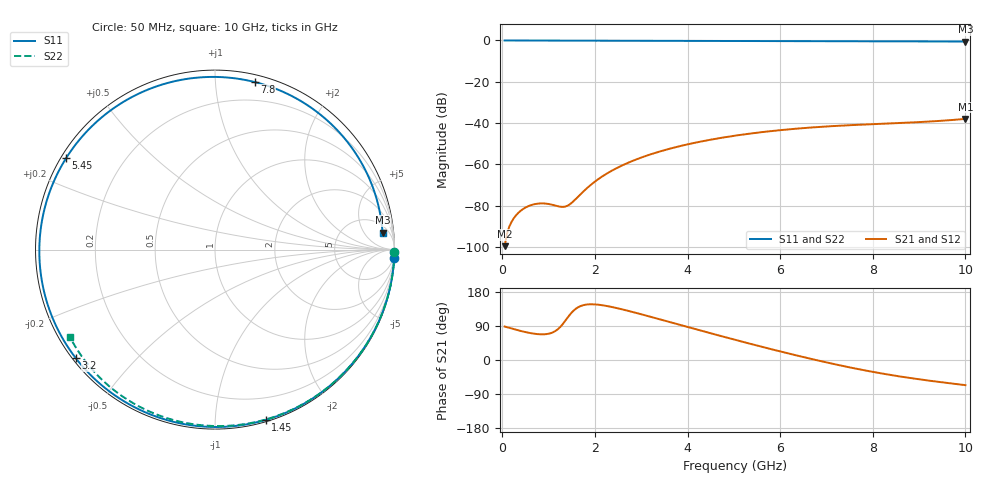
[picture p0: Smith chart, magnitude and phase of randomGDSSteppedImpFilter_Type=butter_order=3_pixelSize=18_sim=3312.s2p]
! freq	dB(S11)	phase(S11)	dB(S12)	phase(S12)
!  dB(S21)	phase(S21)	dB(S22)	phase(S22)
!S-par simulation data
#  GHz  S  DB  R 50
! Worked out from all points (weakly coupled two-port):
!   200 points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, 50 MHz to 10 GHz, reference 50 ohm
!   highest |S21| = -38.00 dB at 10 GHz (marker M1); lowest = -99.7 dB at 50 MHz (marker M2)
!   lowest |S11| = -0.6 dB at 10 GHz (marker M3), VSWR 31.40, Z = 444 + j706 ohm
!   |S11| at or under -10 dB: nowhere
!   |S22| runs from -0.5 to 0.0 dB; largest |S21 - S12| = 0
!   S11 on the Smith chart (normalised r, x): 50 MHz: 0, -42; 1.45 GHz: 0.01, -1.34; 3.2 GHz: 0.01, -0.34; 5.45 GHz: 0.01, +0.28; 7.8 GHz: 0.05, +1.26; 10 GHz: 9, +14
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0.05  -0.00 -2.7  -99.66 88.3  -99.66 88.3  -0.00 -0.9
0.4  -0.03 -21.3  -82.46 76.6  -82.46 76.6  -0.01 -6.9
0.8  -0.05 -42.0  -78.98 67.9  -78.98 67.9  -0.02 -13.8
1.15  -0.07 -59.4  -80.01 76.8  -80.01 76.8  -0.03 -19.7
1.45  -0.09 -73.5  -79.51 118.2  -79.51 118.2  -0.03 -24.8
1.75  -0.10 -86.8  -73.18 144.7  -73.18 144.7  -0.04 -29.8
2.05  -0.11 -99.5  -67.55 146.2  -67.55 146.2  -0.04 -34.8
2.35  -0.12 -111.4  -63.28 140.3  -63.28 140.3  -0.05 -39.7
2.8  -0.13 -128.2  -58.47 127.2  -58.47 127.2  -0.06 -47.1
3.2  -0.14 -142.1  -55.19 114.1  -55.19 114.1  -0.07 -53.4
3.4  -0.15 -148.8  -53.80 107.4  -53.80 107.4  -0.08 -56.6
3.8  -0.16 -161.7  -51.39 93.9  -51.39 93.9  -0.09 -62.9
4.2  -0.18 -174.2  -49.37 80.5  -49.37 80.5  -0.10 -69.0
5.05  -0.21 160.3  -46.05 52.5  -46.05 52.5  -0.13 -81.7
5.45  -0.23 148.5  -44.84 39.7  -44.84 39.7  -0.14 -87.5
6.1  -0.27 129.2  -43.24 19.6  -43.24 19.6  -0.17 -96.7
6.7  -0.30 111.0  -42.12 2.0  -42.12 2.0  -0.20 -105.1
7.25  -0.33 94.1  -41.35 -13.0  -41.35 -13.0  -0.24 -112.6
7.8  -0.36 76.7  -40.74 -26.7  -40.74 -26.7  -0.28 -120.0
8.35  -0.39 59.0  -40.23 -38.8  -40.23 -38.8  -0.33 -127.3
9.2  -0.46 31.4  -39.31 -54.2  -39.31 -54.2  -0.41 -138.5
10  -0.55 5.8  -38.00 -66.4  -38.00 -66.4  -0.50 -149.1
